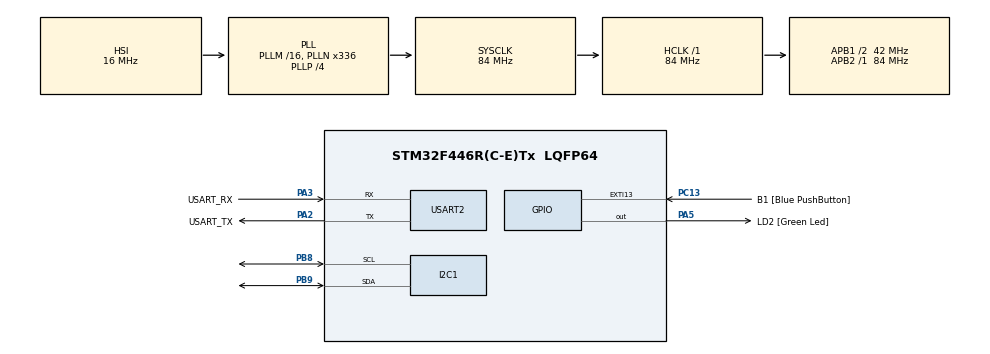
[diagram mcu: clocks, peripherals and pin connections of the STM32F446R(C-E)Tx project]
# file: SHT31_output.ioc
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I2C1.I2C_Mode=I2C_Standard
Mcu.Family=STM32F4
Mcu.Name=STM32F446R(C-E)Tx
Mcu.Package=LQFP64
NVIC.PriorityGroup=NVIC_PRIORITYGROUP_0
PA13.GPIO_Label=TMS
PA13.Mode=Serial_Wire
PA13.Signal=SYS_JTMS-SWDIO
PA14.GPIO_Label=TCK
PA14.Mode=Serial_Wire
PA14.Signal=SYS_JTCK-SWCLK
PA2.GPIO_Label=USART_TX
PA2.Mode=Asynchronous
PA2.Signal=USART2_TX
PA3.GPIO_Label=USART_RX
PA3.Mode=Asynchronous
PA3.Signal=USART2_RX
PA5.GPIO_Label=LD2 [Green Led]
PA5.Signal=GPIO_Output
PB3.GPIO_Label=SWO
PB3.Signal=SYS_JTDO-SWO
PB8.Mode=I2C
PB8.Signal=I2C1_SCL
PB9.Mode=I2C
PB9.Signal=I2C1_SDA
PC13.GPIO_Label=B1 [Blue PushButton]
PC13.GPIO_ModeDefaultEXTI=GPIO_MODE_IT_FALLING
PC13.Signal=GPXTI13
PC14-OSC32_IN.Mode=LSE-External-Oscillator
PC14-OSC32_IN.Signal=RCC_OSC32_IN
PC15-OSC32_OUT.Mode=LSE-External-Oscillator
PC15-OSC32_OUT.Signal=RCC_OSC32_OUT
PH0-OSC_IN.Mode=HSE-External-Oscillator
PH0-OSC_IN.Signal=RCC_OSC_IN
PH1-OSC_OUT.Mode=HSE-External-Oscillator
PH1-OSC_OUT.Signal=RCC_OSC_OUT
ProjectManager.HeapSize=0x200
ProjectManager.StackSize=0x400
ProjectManager.TargetToolchain=STM32CubeIDE
RCC.48MHZClocksFreq_Value=84000000
RCC.AHBFreq_Value=84000000
RCC.APB1CLKDivider=RCC_HCLK_DIV2
RCC.APB1Freq_Value=42000000
RCC.APB1TimFreq_Value=84000000
RCC.APB2Freq_Value=84000000
RCC.APB2TimFreq_Value=84000000
RCC.CortexFreq_Value=84000000
RCC.FLatency-AdvancedSettings=FLASH_LATENCY_2
RCC.HCLKFreq_Value=84000000
RCC.HSE_VALUE=8000000
RCC.HSI_VALUE=16000000
RCC.PLLN=336
RCC.PLLP=RCC_PLLP_DIV4
RCC.SYSCLKFreq_VALUE=84000000
RCC.SYSCLKSource=RCC_SYSCLKSOURCE_PLLCLK
RCC.USBFreq_Value=168000000
RCC.VCOOutputFreq_Value=336000000
USART2.VirtualMode=VM_ASYNC
board=NUCLEO-F446RE

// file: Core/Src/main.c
/* USER CODE BEGIN Header */
/**
  ******************************************************************************
  * @file           : main.c
  * @brief          : Main program body
  ******************************************************************************
  * @attention
  *
  * Copyright (c) 2024 STMicroelectronics.
  * All rights reserved.
  *
  * This software is licensed under terms that can be found in the LICENSE file
  * in the root directory of this software component.
  * If no LICENSE file comes with this software, it is provided AS-IS.
  *
  ******************************************************************************
  */
/* USER CODE END Header */
#include "main.h"

/* USER CODE BEGIN Includes */
#include <string.h>
#include <stdio.h>

/* USER CODE END Includes */

/* USER CODE BEGIN PD */
#define CMD_MEASURE_TEMP 0x2C06

/* USER CODE END PD */

I2C_HandleTypeDef hi2c1;

UART_HandleTypeDef huart2;

/* USER CODE BEGIN PV */
static const uint8_t SHT31_ADD = 0x44 << 1;

/* USER CODE END PV */

void SystemClock_Config(void);
static void MX_GPIO_Init(void);
static void MX_USART2_UART_Init(void);
static void MX_I2C1_Init(void);

int main(void)
{
  /* USER CODE BEGIN 1 */
	HAL_StatusTypeDef ret;
//	uint8_t buf[12];
	uint8_t msg2[64];
//	int16_t val;
	float temp_c;
	float humidity;
  /* USER CODE END 1 */

  /* MCU Configuration--------------------------------------------------------*/

  /* Reset of all peripherals, Initializes the Flash interface and the Systick. */
  HAL_Init();

  /* Configure the system clock */
  SystemClock_Config();

  /* Initialize all configured peripherals */
  MX_GPIO_Init();
  MX_USART2_UART_Init();
  MX_I2C1_Init();
  /* USER CODE BEGIN 2 */
  char msg[] = "Hello World!\n";
  uint8_t data[10];
  uint16_t temp_raw, humidity_raw;

  /* USER CODE END 2 */

  /* Infinite loop */
  /* USER CODE BEGIN WHILE */
  while (1)
  {
	  uint8_t command_buffer[2] = {0x2C, 0x06};
	  ret = HAL_I2C_Master_Transmit(&hi2c1, SHT31_ADD, command_buffer, 2, HAL_MAX_DELAY);
	  if (ret != HAL_OK) {
		strcpy((char*)msg2, "Error 1\r\n");
	  } else {
		ret = HAL_I2C_Master_Receive(&hi2c1, SHT31_ADD, data, 6, HAL_MAX_DELAY);
		if (ret != HAL_OK) {
			strcpy((char*)msg2, "Error 2\r\n");
		} else {
		    temp_raw = data[0] << 8 | data[1];
		    temp_c = ((float)temp_raw * 175.0f / 65535.0f) - 45.0f;

		    humidity_raw = data[3] << 8 | data[4];
		    humidity = ((float)humidity_raw * 100.0f / 65535.0f);
		    sprintf((char*)msg2, "Temp: %.1f'C%, Humidity: %.1f%%\r\n", (temp_c), (humidity));
		}
	  }

	HAL_UART_Transmit(&huart2, msg2, strlen((char*) msg2), 100);
	HAL_Delay(500);
    /* USER CODE END WHILE */

  }
}

void SystemClock_Config(void)
{
  RCC_OscInitTypeDef RCC_OscInitStruct = {0};
  RCC_ClkInitTypeDef RCC_ClkInitStruct = {0};

  /** Configure the main internal regulator output voltage
  */
  __HAL_RCC_PWR_CLK_ENABLE();
  __HAL_PWR_VOLTAGESCALING_CONFIG(PWR_REGULATOR_VOLTAGE_SCALE3);

  /** Initializes the RCC Oscillators according to the specified parameters
  * in the RCC_OscInitTypeDef structure.
  */
  RCC_OscInitStruct.OscillatorType = RCC_OSCILLATORTYPE_HSI;
  RCC_OscInitStruct.HSIState = RCC_HSI_ON;
  RCC_OscInitStruct.HSICalibrationValue = RCC_HSICALIBRATION_DEFAULT;
  RCC_OscInitStruct.PLL.PLLState = RCC_PLL_ON;
  RCC_OscInitStruct.PLL.PLLSource = RCC_PLLSOURCE_HSI;
  RCC_OscInitStruct.PLL.PLLM = 16;
  RCC_OscInitStruct.PLL.PLLN = 336;
  RCC_OscInitStruct.PLL.PLLP = RCC_PLLP_DIV4;
  RCC_OscInitStruct.PLL.PLLQ = 2;
  RCC_OscInitStruct.PLL.PLLR = 2;
  if (HAL_RCC_OscConfig(&RCC_OscInitStruct) != HAL_OK)
  {
    Error_Handler();
  }

  /** Initializes the CPU, AHB and APB buses clocks
  */
  RCC_ClkInitStruct.ClockType = RCC_CLOCKTYPE_HCLK|RCC_CLOCKTYPE_SYSCLK
                              |RCC_CLOCKTYPE_PCLK1|RCC_CLOCKTYPE_PCLK2;
  RCC_ClkInitStruct.SYSCLKSource = RCC_SYSCLKSOURCE_PLLCLK;
  RCC_ClkInitStruct.AHBCLKDivider = RCC_SYSCLK_DIV1;
  RCC_ClkInitStruct.APB1CLKDivider = RCC_HCLK_DIV2;
  RCC_ClkInitStruct.APB2CLKDivider = RCC_HCLK_DIV1;

  if (HAL_RCC_ClockConfig(&RCC_ClkInitStruct, FLASH_LATENCY_2) != HAL_OK)
  {
    Error_Handler();
  }
}

static void MX_I2C1_Init(void)
{

  hi2c1.Instance = I2C1;
  hi2c1.Init.ClockSpeed = 100000;
  hi2c1.Init.DutyCycle = I2C_DUTYCYCLE_2;
  hi2c1.Init.OwnAddress1 = 0;
  hi2c1.Init.AddressingMode = I2C_ADDRESSINGMODE_7BIT;
  hi2c1.Init.DualAddressMode = I2C_DUALADDRESS_DISABLE;
  hi2c1.Init.OwnAddress2 = 0;
  hi2c1.Init.GeneralCallMode = I2C_GENERALCALL_DISABLE;
  hi2c1.Init.NoStretchMode = I2C_NOSTRETCH_DISABLE;
  if (HAL_I2C_Init(&hi2c1) != HAL_OK)
  {
    Error_Handler();
  }

}

static void MX_USART2_UART_Init(void)
{

  huart2.Instance = USART2;
  huart2.Init.BaudRate = 115200;
  huart2.Init.WordLength = UART_WORDLENGTH_8B;
  huart2.Init.StopBits = UART_STOPBITS_1;
  huart2.Init.Parity = UART_PARITY_NONE;
  huart2.Init.Mode = UART_MODE_TX_RX;
  huart2.Init.HwFlowCtl = UART_HWCONTROL_NONE;
  huart2.Init.OverSampling = UART_OVERSAMPLING_16;
  if (HAL_UART_Init(&huart2) != HAL_OK)
  {
    Error_Handler();
  }

}

static void MX_GPIO_Init(void)
{
  GPIO_InitTypeDef GPIO_InitStruct = {0};

  /* GPIO Ports Clock Enable */
  __HAL_RCC_GPIOC_CLK_ENABLE();
  __HAL_RCC_GPIOH_CLK_ENABLE();
  __HAL_RCC_GPIOA_CLK_ENABLE();
  __HAL_RCC_GPIOB_CLK_ENABLE();

  /*Configure GPIO pin Output Level */
  HAL_GPIO_WritePin(LD2_GPIO_Port, LD2_Pin, GPIO_PIN_RESET);

  /*Configure GPIO pin : B1_Pin */
  GPIO_InitStruct.Pin = B1_Pin;
  GPIO_InitStruct.Mode = GPIO_MODE_IT_FALLING;
  GPIO_InitStruct.Pull = GPIO_NOPULL;
  HAL_GPIO_Init(B1_GPIO_Port, &GPIO_InitStruct);

  /*Configure GPIO pin : LD2_Pin */
  GPIO_InitStruct.Pin = LD2_Pin;
  GPIO_InitStruct.Mode = GPIO_MODE_OUTPUT_PP;
  GPIO_InitStruct.Pull = GPIO_NOPULL;
  GPIO_InitStruct.Speed = GPIO_SPEED_FREQ_LOW;
  HAL_GPIO_Init(LD2_GPIO_Port, &GPIO_InitStruct);

}

void Error_Handler(void)
{
  __disable_irq();
  while (1)
  {
  }
}
